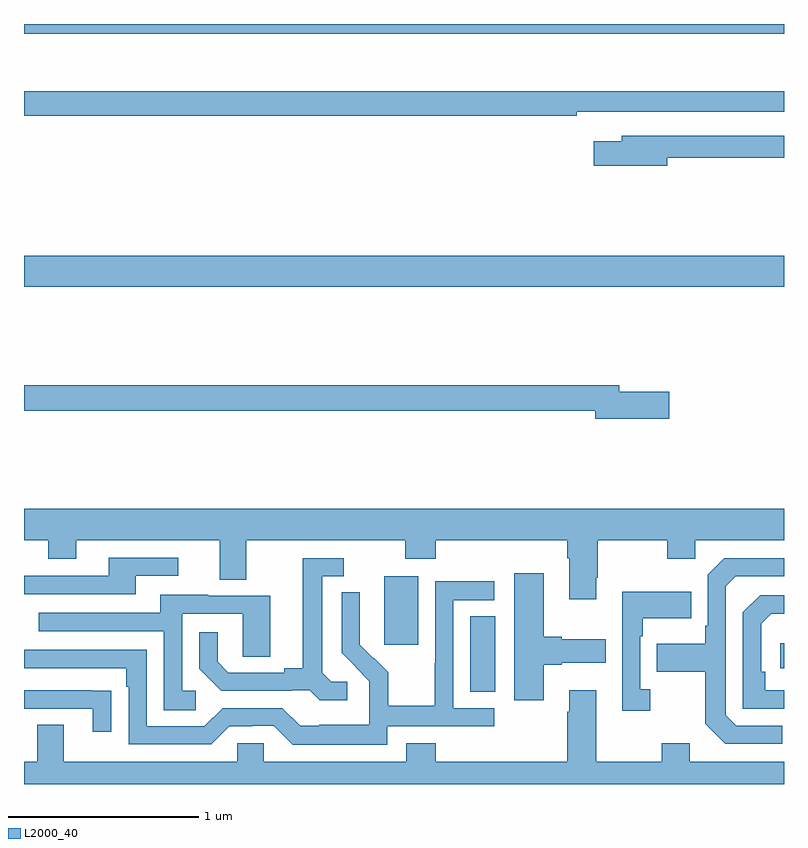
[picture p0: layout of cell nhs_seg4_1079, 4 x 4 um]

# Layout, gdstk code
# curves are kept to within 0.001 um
import gdstk
lib = gdstk.Library(unit=1e-6, precision=1e-09)
def R(c, l, rs):  # rectangles x0, y0, x1, y1
    for r in rs: c.add(gdstk.rectangle(r[:2], r[2:], *l))
def P(c, l, *ps):  # polygons
    for p in ps: c.add(gdstk.Polygon(p, *l))
L2000_40 = (2000, 40)

nhs_seg4_1079 = lib.new_cell('nhs_seg4_1079')
R(nhs_seg4_1079, L2000_40, [(169.349,765.385,169.48,765.782), (170.979,765.51,171,765.64), (168.896,765.633,169.075,765.994), (167,767.516,171,767.68), (167,768.848,171,768.9)])
P(nhs_seg4_1079, L2000_40, [(169.91,768.438),(171,768.438),(171,768.547),(167,768.547),(167,768.418),(169.91,768.418)],
  [(170.386,768.196),(171,768.196),(171,768.312),(170.147,768.312),(170.147,768.283),(169.998,768.283),(169.998,768.154),(170.386,768.154)],
  [(170.395,766.964),(170.134,766.964),(170.134,767),(167,767),(167,766.864),(170.006,766.864),(170.006,766.822),(170.395,766.822)],
  [(170.011,765.985),(170.019,765.985),(170.019,766.184),(170.386,766.184),(170.386,766.085),(170.532,766.085),(170.532,766.184),(171,766.184),(171,766.348),(167,766.348),(167,766.184),(167.128,766.184),(167.128,766.085),(167.275,766.085),(167.275,766.184),(168.029,766.184),(168.029,765.976),(168.169,765.976),(168.169,766.184),(169.006,766.184),(169.006,766.085),(169.166,766.085),(169.166,766.184),(169.859,766.184),(169.859,766.088),(169.871,766.088),(169.871,765.873),(170.011,765.873)],
  [(167.587,765.996),(167.812,765.996),(167.812,766.092),(167.447,766.092),(167.447,765.996),(167,765.996),(167,765.9),(167.587,765.9)],
  [(170.992,765.207),(170.748,765.207),(170.694,765.261),(170.694,765.942),(170.745,765.993),(171,765.993),(171,766.089),(170.685,766.089),(170.598,766.002),(170.598,765.733),(170.586,765.733),(170.586,765.637),(170.329,765.637),(170.329,765.49),(170.586,765.49),(170.586,765.217),(170.691,765.111),(170.992,765.111)],
  [(168.7,765.438),(168.618,765.438),(168.571,765.485),(168.571,765.993),(168.682,765.993),(168.682,766.089),(168.467,766.089),(168.467,765.509),(168.371,765.509),(168.371,765.486),(168.076,765.486),(168.019,765.543),(168.019,765.7),(167.922,765.7),(167.922,765.506),(168.038,765.39),(168.41,765.39),(168.41,765.393),(168.504,765.393),(168.556,765.341),(168.7,765.341)],
  [(169.735,765.527),(169.831,765.527),(169.831,765.539),(170.062,765.539),(170.062,765.661),(169.831,765.661),(169.831,765.674),(169.735,765.674),(169.735,766.009),(169.58,766.009),(169.58,765.342),(169.735,765.342)],
  [(168.912,765.204),(169.474,765.204),(169.474,765.3),(169.26,765.3),(169.26,765.867),(169.474,765.867),(169.474,765.966),(169.164,765.966),(169.164,765.536),(169.162,765.536),(169.162,765.313),(168.917,765.313),(168.917,765.487),(168.84,765.564),(168.837,765.561),(168.767,765.632),(168.768,765.908),(168.672,765.908),(168.672,765.59),(168.818,765.442),(168.818,765.345),(168.816,765.345),(168.816,765.211),(168.553,765.211),(168.553,765.207),(168.453,765.207),(168.36,765.3),(168.045,765.3),(167.949,765.204),(167.646,765.204),(167.646,765.606),(167,765.606),(167,765.51),(167.537,765.51),(167.537,765.413),(167.55,765.413),(167.55,765.108),(167.985,765.108),(168.081,765.204),(168.2,765.204),(168.2,765.207),(168.315,765.207),(168.415,765.107),(168.912,765.107)],
  [(170.296,765.398),(170.244,765.398),(170.244,765.677),(170.257,765.677),(170.257,765.773),(170.513,765.773),(170.513,765.913),(170.148,765.913),(170.148,765.285),(170.296,765.285)],
  [(167.905,765.39),(167.832,765.39),(167.832,765.795),(168.15,765.795),(168.15,765.571),(168.295,765.571),(168.295,765.891),(167.971,765.891),(167.971,765.895),(167.717,765.895),(167.717,765.801),(167.077,765.801),(167.077,765.705),(167.736,765.705),(167.736,765.289),(167.905,765.289)],
  [(171,765.393),(170.9,765.393),(170.9,765.49),(170.88,765.49),(170.88,765.744),(170.933,765.797),(171,765.797),(171,765.894),(170.874,765.894),(170.784,765.804),(170.784,765.297),(171,765.297)],
  [(171,765.016),(170.503,765.016),(170.503,765.115),(170.356,765.115),(170.356,765.016),(170.011,765.016),(170.011,765.394),(169.871,765.394),(169.871,765.281),(169.859,765.281),(169.859,765.016),(169.166,765.016),(169.166,765.115),(169.013,765.115),(169.013,765.016),(168.261,765.016),(168.261,765.114),(168.123,765.114),(168.123,765.016),(167.209,765.016),(167.209,765.211),(167.069,765.211),(167.069,765.016),(167,765.016),(167,764.9),(171,764.9)],
  [(167.459,765.392),(167.357,765.392),(167.357,765.393),(167,765.393),(167,765.297),(167.363,765.297),(167.363,765.174),(167.459,765.174)])

lib.write_gds('nhs_seg4_1079.gds')
